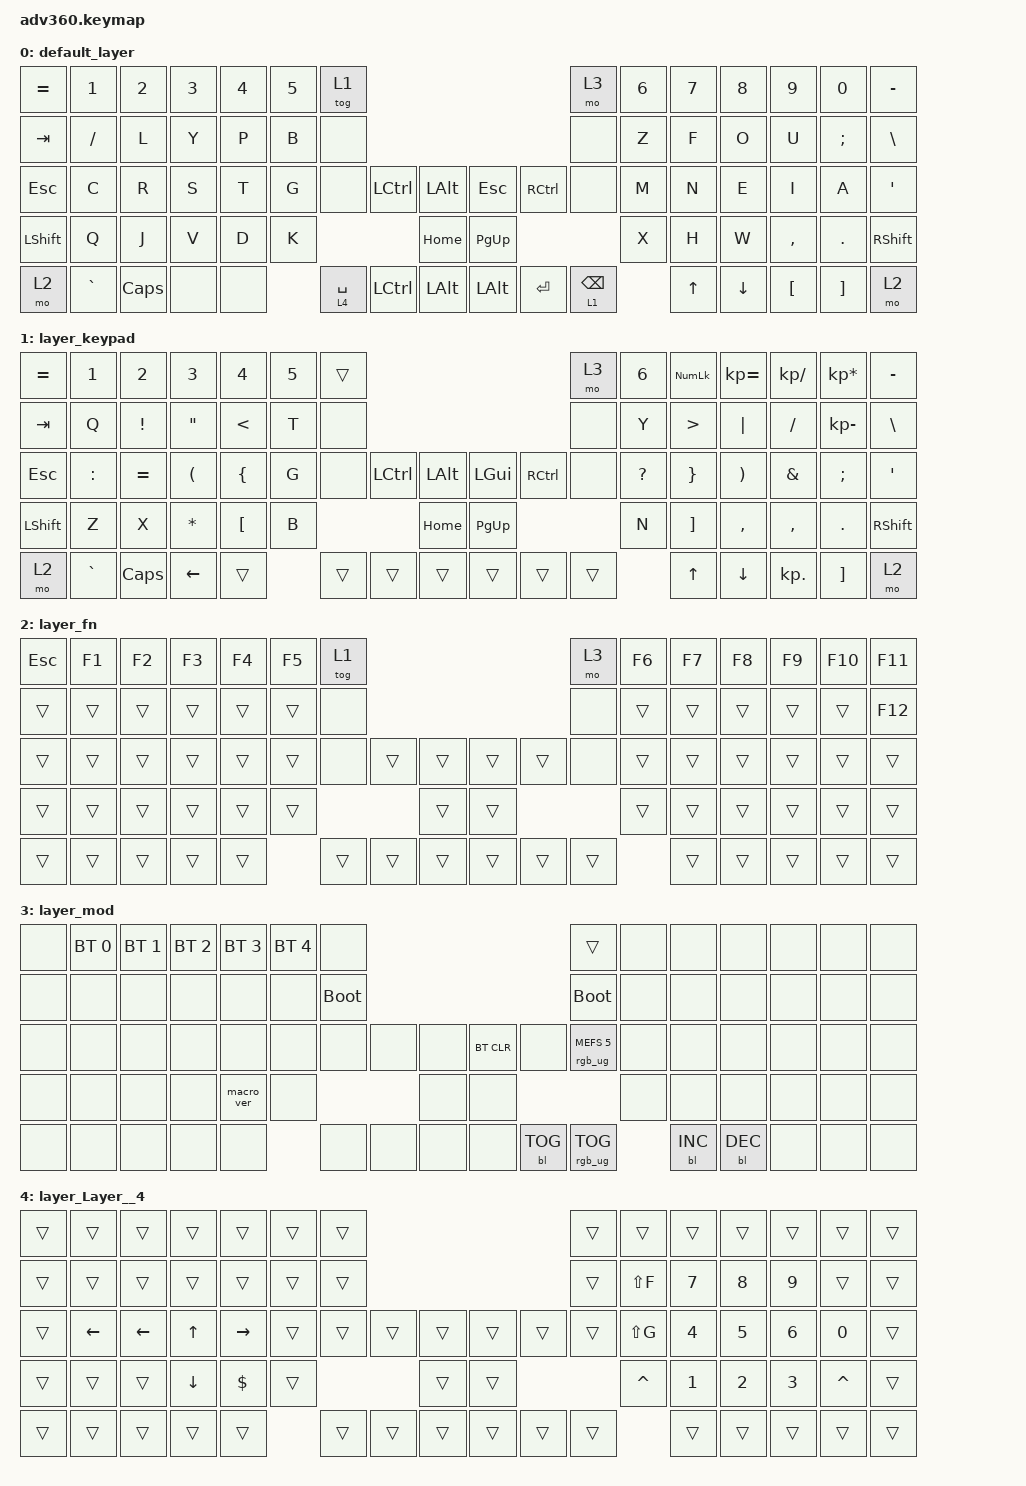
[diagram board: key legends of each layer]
/*
 * Copyright (c) 2020 The ZMK Contributors
 *
 * SPDX-License-Identifier: MIT
 */
/* THIS FILE WAS GENERATED!
 *
 * This file was generated automatically. You may or may not want to
 * edit it directly.
 */

#include <behaviors.dtsi>
#include <dt-bindings/zmk/backlight.h>
#include <dt-bindings/zmk/bt.h>
#include <dt-bindings/zmk/keys.h>
#include <dt-bindings/zmk/rgb.h>

/ {
    behaviors {
        #include "macros.dtsi"
    #include "version.dtsi"

        hm: homerow_mods {
            compatible = "zmk,behavior-hold-tap";
            label = "HOMEROW_MODS";
            #binding-cells = <2>;
            tapping-term-ms = <200>;
            quick_tap_ms = <175>;
            flavor = "tap-preferred";
            bindings = <&kp>, <&kp>;
        };
    };

    keymap {
        compatible = "zmk,keymap";

        default_layer {
            bindings = <
&kp EQUAL  &kp N1     &kp N2        &kp N3  &kp N4  &kp N5  &tog 1                                                             &mo 3            &kp N6  &kp N7  &kp N8    &kp N9     &kp N0         &kp MINUS
&kp TAB    &kp SLASH  &kp L         &kp Y   &kp P   &kp B   &none                                                              &none            &kp Z   &kp F   &kp O     &kp U      &kp SEMICOLON  &kp BSLH
&kp ESC    &kp C      &kp R         &kp S   &kp T   &kp G   &none        &kp LCTRL  &kp LALT          &kp ESC       &kp RCTRL  &none            &kp M   &kp N   &kp E     &kp I      &kp A          &kp SQT
&kp LSHFT  &kp Q      &kp J         &kp V   &kp D   &kp K                           &kp HOME          &kp PG_UP                                 &kp X   &kp H   &kp W     &kp COMMA  &kp DOT        &kp RSHFT
&mo 2      &kp GRAVE  &kp CAPSLOCK  &none   &none           &lt 4 SPACE  &kp LCTRL  &kp LEFT_ALT      &kp LEFT_ALT  &kp ENTER  &lt 1 BACKSPACE          &kp UP  &kp DOWN  &kp LBKT   &kp RBKT       &mo 2
            >;
        };

        layer_keypad {
            bindings = <
&kp EQUAL  &kp N1     &kp N2           &kp N3                &kp N4            &kp N5  &trans                                                 &mo 3   &kp N6        &kp KP_NUM         &kp KP_EQUAL           &kp KP_DIVIDE  &kp KP_MULTIPLY  &kp MINUS
&kp TAB    &kp Q      &kp EXCLAMATION  &kp DOUBLE_QUOTES     &kp LESS_THAN     &kp T   &none                                                  &none   &kp Y         &kp GREATER_THAN   &kp PIPE               &kp SLASH      &kp KP_MINUS     &kp BSLH
&kp ESC    &kp COLON  &kp EQUAL        &kp LEFT_PARENTHESIS  &kp LEFT_BRACE    &kp G   &none   &kp LCTRL  &kp LALT      &kp LGUI   &kp RCTRL  &none   &kp QUESTION  &kp RIGHT_BRACE    &kp RIGHT_PARENTHESIS  &kp AMPERSAND  &kp SEMICOLON    &kp SQT
&kp LSHFT  &kp Z      &kp X            &kp ASTERISK          &kp LEFT_BRACKET  &kp B                      &kp HOME      &kp PG_UP                     &kp N         &kp RIGHT_BRACKET  &kp COMMA              &kp COMMA      &kp DOT          &kp RSHFT
&mo 2      &kp GRAVE  &kp CAPS         &kp LEFT              &trans                    &trans  &trans     &trans        &trans     &trans     &trans                &kp UP             &kp DOWN               &kp KP_DOT     &kp RBKT         &mo 2
            >;
        };

        layer_fn {
            bindings = <
&kp ESC  &kp F1  &kp F2  &kp F3  &kp F4  &kp F5  &tog 1                                      &mo 3   &kp F6  &kp F7  &kp F8  &kp F9  &kp F10  &kp F11
&trans   &trans  &trans  &trans  &trans  &trans  &none                                       &none   &trans  &trans  &trans  &trans  &trans   &kp F12
&trans   &trans  &trans  &trans  &trans  &trans  &none   &trans  &trans      &trans  &trans  &none   &trans  &trans  &trans  &trans  &trans   &trans
&trans   &trans  &trans  &trans  &trans  &trans                  &trans      &trans                  &trans  &trans  &trans  &trans  &trans   &trans
&trans   &trans  &trans  &trans  &trans          &trans  &trans  &trans      &trans  &trans  &trans          &trans  &trans  &trans  &trans   &trans
            >;
        };

        layer_mod {
            bindings = <
&none  &bt BT_SEL 0  &bt BT_SEL 1  &bt BT_SEL 2  &bt BT_SEL 3  &bt BT_SEL 4  &none                                                  &trans                  &none  &none       &none       &none  &none  &none
&none  &none         &none         &none         &none         &none         &bootloader                                            &bootloader             &none  &none       &none       &none  &none  &none
&none  &none         &none         &none         &none         &none         &none        &none  &none      &bt BT_CLR  &none       &rgb_ug RGB_MEFS_CMD 5  &none  &none       &none       &none  &none  &none
&none  &none         &none         &none         &macro_ver    &none                             &none      &none                                           &none  &none       &none       &none  &none  &none
&none  &none         &none         &none         &none                       &none        &none  &none      &none       &bl BL_TOG  &rgb_ug RGB_TOG                &bl BL_INC  &bl BL_DEC  &none  &none  &none
            >;
        };

        layer_Layer__4 {
            bindings = <
&trans  &trans    &trans    &trans        &trans      &trans  &trans                                      &trans  &trans     &trans        &trans        &trans        &trans     &trans
&trans  &trans    &trans    &trans        &trans      &trans  &trans                                      &trans  &kp LS(F)  &kp NUMBER_7  &kp NUMBER_8  &kp NUMBER_9  &trans     &trans
&trans  &kp LEFT  &kp LEFT  &kp UP_ARROW  &kp RIGHT   &trans  &trans  &trans  &trans      &trans  &trans  &trans  &kp LS(G)  &kp NUMBER_4  &kp NUMBER_5  &kp NUMBER_6  &kp N0     &trans
&trans  &trans    &trans    &kp DOWN      &kp DOLLAR  &trans                  &trans      &trans                  &kp CARET  &kp NUMBER_1  &kp NUMBER_2  &kp NUMBER_3  &kp CARET  &trans
&trans  &trans    &trans    &trans        &trans              &trans  &trans  &trans      &trans  &trans  &trans             &trans        &trans        &trans        &trans     &trans
            >;
        };
    };
};
